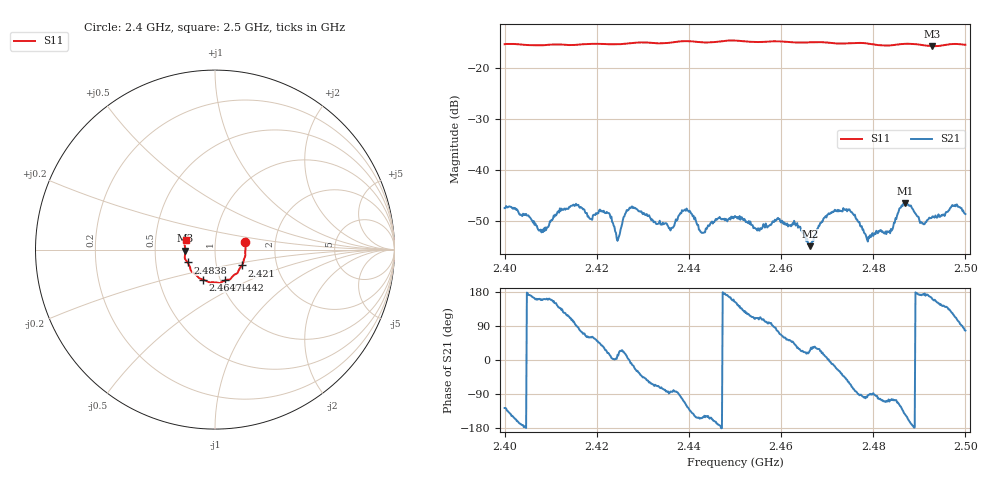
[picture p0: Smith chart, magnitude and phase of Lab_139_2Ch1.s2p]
# Hz S RI R 50
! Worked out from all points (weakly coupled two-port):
!   601 points, 2.4 GHz to 2.5 GHz, reference 50 ohm
!   highest |S21| = -46.60 dB at 2.487 GHz (marker M1); lowest = -55.1 dB at 2.4663 GHz (marker M2)
!   lowest |S11| = -15.6 dB at 2.4928 GHz (marker M3), VSWR 1.40, Z = 35.8 - j0.383 ohm
!   |S11| at or under -10 dB: start of sweep to end of sweep
!   S12 and S22 are empty: the file has one direction only
!   S11 on the Smith chart (normalised r, x): 2.4 GHz: 1.40, +0.12; 2.421 GHz: 1.33, -0.24; 2.4442 GHz: 1.05, -0.37; 2.4647 GHz: 0.83, -0.29; 2.4838 GHz: 0.73, -0.11; 2.5 GHz: 0.72, +0.08
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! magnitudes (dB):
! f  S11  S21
! 2.4 GHz  -15.2  -47.6
! 2.4078 GHz  -15.4  -51.8
! 2.4167 GHz  -15.3  -47.5
! 2.421 GHz  -15.2  -48.0
! 2.4245 GHz  -15.2  -54.0
! 2.4275 GHz  -15.0  -47.4
! 2.4333 GHz  -15.1  -50.6
! 2.4362 GHz  -14.9  -51.5
! 2.4393 GHz  -14.6  -48.1
! 2.4442 GHz  -14.9  -50.9
! 2.45 GHz  -14.5  -49.1
! 2.4647 GHz  -14.9  -52.4
! 2.4663 GHz  -14.8  -55.1
! 2.4667 GHz  -14.8  -54.3
! 2.4722 GHz  -15.1  -48.2
! 2.475 GHz  -15.0  -48.1
! 2.4787 GHz  -15.1  -53.8
! 2.4833 GHz  -15.5  -52.3
! 2.4838 GHz  -15.4  -51.7
! 2.487 GHz  -15.1  -46.6
! 2.4928 GHz  -15.6  -49.2
! 2.5 GHz  -15.3  -48.7
